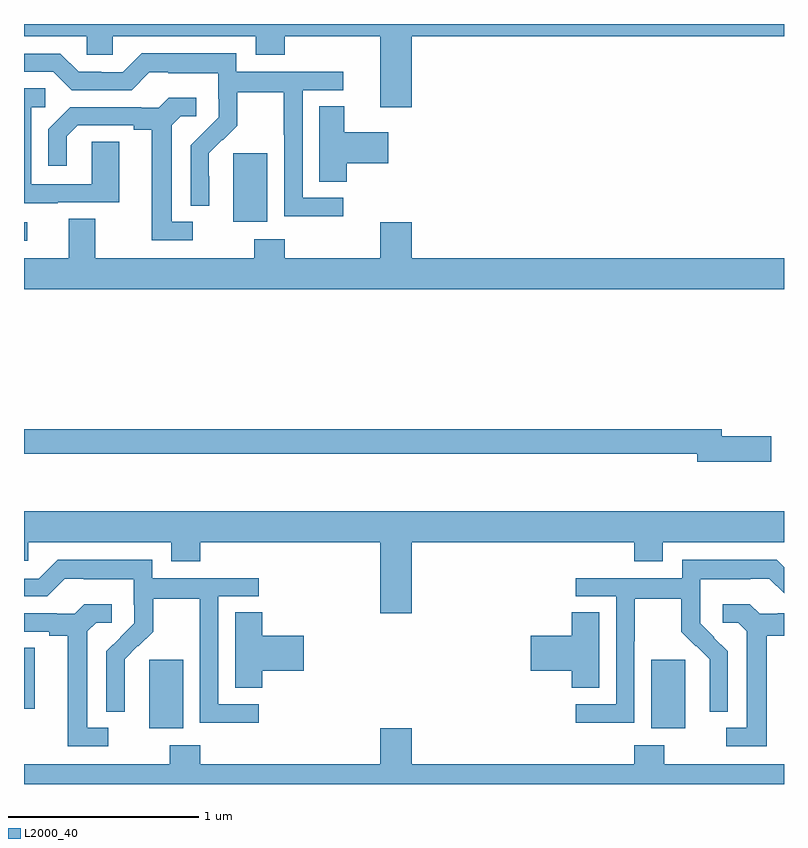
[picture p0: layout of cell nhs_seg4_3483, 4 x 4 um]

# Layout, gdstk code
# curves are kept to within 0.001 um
import gdstk
lib = gdstk.Library(unit=1e-6, precision=1e-09)
def R(c, l, rs):  # rectangles x0, y0, x1, y1
    for r in rs: c.add(gdstk.rectangle(r[:2], r[2:], *l))
def P(c, l, *ps):  # polygons
    for p in ps: c.add(gdstk.Polygon(p, *l))
L2000_40 = (2000, 40)

nhs_seg4_3483 = lib.new_cell('nhs_seg4_3483')
R(nhs_seg4_3483, L2000_40, [(295.658,777.194,295.837,777.555), (298.301,777.194,298.48,777.555), (295,777.297,295.057,777.617), (295,779.76,295.018,779.856), (296.102,779.858,296.281,780.219)])
P(nhs_seg4_3483, L2000_40, [(295,780.836),(295.329,780.836),(295.329,780.738),(295.467,780.738),(295.467,780.836),(296.219,780.836),(296.219,780.737),(296.372,780.737),(296.372,780.836),(296.876,780.836),(296.876,780.462),(297.04,780.462),(297.04,780.836),(299,780.836),(299,780.9),(295,780.9)],
  [(296.68,779.985),(296.466,779.985),(296.466,780.552),(296.68,780.552),(296.68,780.648),(296.118,780.648),(296.118,780.745),(295.621,780.745),(295.521,780.645),(295.406,780.645),(295.406,780.648),(295.287,780.648),(295.191,780.744),(295,780.744),(295,780.648),(295.155,780.648),(295.251,780.552),(295.566,780.552),(295.659,780.645),(295.759,780.645),(295.759,780.641),(296.022,780.641),(296.022,780.507),(296.024,780.507),(296.024,780.41),(295.878,780.262),(295.878,779.944),(295.974,779.944),(295.973,780.221),(296.043,780.291),(296.046,780.288),(296.123,780.365),(296.123,780.54),(296.368,780.54),(296.368,780.316),(296.37,780.316),(296.37,779.887),(296.68,779.887)],
  [(295.177,779.961),(295.501,779.961),(295.501,780.281),(295.356,780.281),(295.356,780.057),(295.038,780.057),(295.038,780.462),(295.111,780.462),(295.111,780.563),(295,780.563),(295,779.957),(295.177,779.957)],
  [(295.888,779.859),(295.777,779.859),(295.777,780.367),(295.824,780.414),(295.906,780.414),(295.906,780.511),(295.762,780.511),(295.71,780.459),(295.616,780.459),(295.616,780.462),(295.244,780.462),(295.128,780.346),(295.128,780.153),(295.225,780.153),(295.225,780.309),(295.282,780.366),(295.577,780.366),(295.577,780.344),(295.673,780.344),(295.673,779.763),(295.888,779.763)],
  [(296.699,780.166),(296.917,780.166),(296.917,780.331),(296.686,780.331),(296.686,780.467),(296.555,780.467),(296.555,780.07),(296.699,780.07)],
  [(299,779.668),(297.04,779.668),(297.04,779.857),(296.876,779.857),(296.876,779.668),(296.372,779.668),(296.372,779.767),(296.212,779.767),(296.212,779.668),(295.375,779.668),(295.375,779.876),(295.235,779.876),(295.235,779.668),(295,779.668),(295,779.504),(299,779.504)],
  [(298.933,778.73),(298.672,778.73),(298.672,778.766),(295,778.766),(295,778.638),(298.544,778.638),(298.544,778.595),(298.933,778.595)],
  [(297.04,778.172),(298.211,778.172),(298.211,778.073),(298.363,778.073),(298.363,778.172),(299,778.172),(299,778.336),(295,778.336),(295,778.074),(295.023,778.074),(295.023,778.172),(295.775,778.172),(295.775,778.073),(295.928,778.073),(295.928,778.172),(296.876,778.172),(296.876,777.798),(297.04,777.798)],
  [(298.212,777.652),(298.215,777.652),(298.215,777.876),(298.459,777.876),(298.459,777.701),(298.536,777.624),(298.539,777.627),(298.61,777.557),(298.61,777.434),(298.608,777.434),(298.608,777.28),(298.704,777.28),(298.704,777.598),(298.558,777.746),(298.558,777.843),(298.56,777.843),(298.56,777.977),(298.823,777.977),(298.823,777.981),(298.923,777.981),(299,777.904),(299,778.042),(298.961,778.081),(298.464,778.081),(298.464,777.984),(297.903,777.984),(297.903,777.888),(298.116,777.888),(298.116,777.321),(297.903,777.321),(297.903,777.223),(298.212,777.223)],
  [(296.236,777.321),(296.022,777.321),(296.022,777.888),(296.236,777.888),(296.236,777.984),(295.674,777.984),(295.674,778.081),(295.177,778.081),(295.077,777.981),(295,777.981),(295,777.888),(295.122,777.888),(295.215,777.981),(295.315,777.981),(295.315,777.977),(295.578,777.977),(295.578,777.843),(295.58,777.843),(295.58,777.746),(295.434,777.598),(295.434,777.28),(295.53,777.28),(295.529,777.557),(295.599,777.627),(295.602,777.624),(295.679,777.701),(295.679,777.876),(295.924,777.876),(295.924,777.652),(295.926,777.652),(295.926,777.223),(296.236,777.223)],
  [(295.444,777.195),(295.333,777.195),(295.333,777.703),(295.38,777.75),(295.462,777.75),(295.462,777.847),(295.318,777.847),(295.266,777.795),(295.172,777.795),(295.172,777.798),(295,777.798),(295,777.702),(295.133,777.702),(295.133,777.68),(295.229,777.68),(295.229,777.099),(295.444,777.099)],
  [(298.909,777.68),(299,777.68),(299,777.798),(298.966,777.798),(298.966,777.795),(298.872,777.795),(298.82,777.847),(298.677,777.847),(298.677,777.75),(298.758,777.75),(298.805,777.703),(298.805,777.195),(298.695,777.195),(298.695,777.099),(298.909,777.099)],
  [(296.255,777.497),(296.473,777.497),(296.473,777.68),(296.255,777.68),(296.255,777.803),(296.111,777.803),(296.111,777.406),(296.255,777.406)],
  [(298.027,777.803),(297.884,777.803),(297.884,777.68),(297.666,777.68),(297.666,777.497),(297.884,777.497),(297.884,777.406),(298.027,777.406)],
  [(299,777.004),(298.371,777.004),(298.371,777.103),(298.211,777.103),(298.211,777.004),(297.04,777.004),(297.04,777.193),(296.876,777.193),(296.876,777.004),(295.928,777.004),(295.928,777.103),(295.768,777.103),(295.768,777.004),(295,777.004),(295,776.9),(299,776.9)])

lib.write_gds('nhs_seg4_3483.gds')
